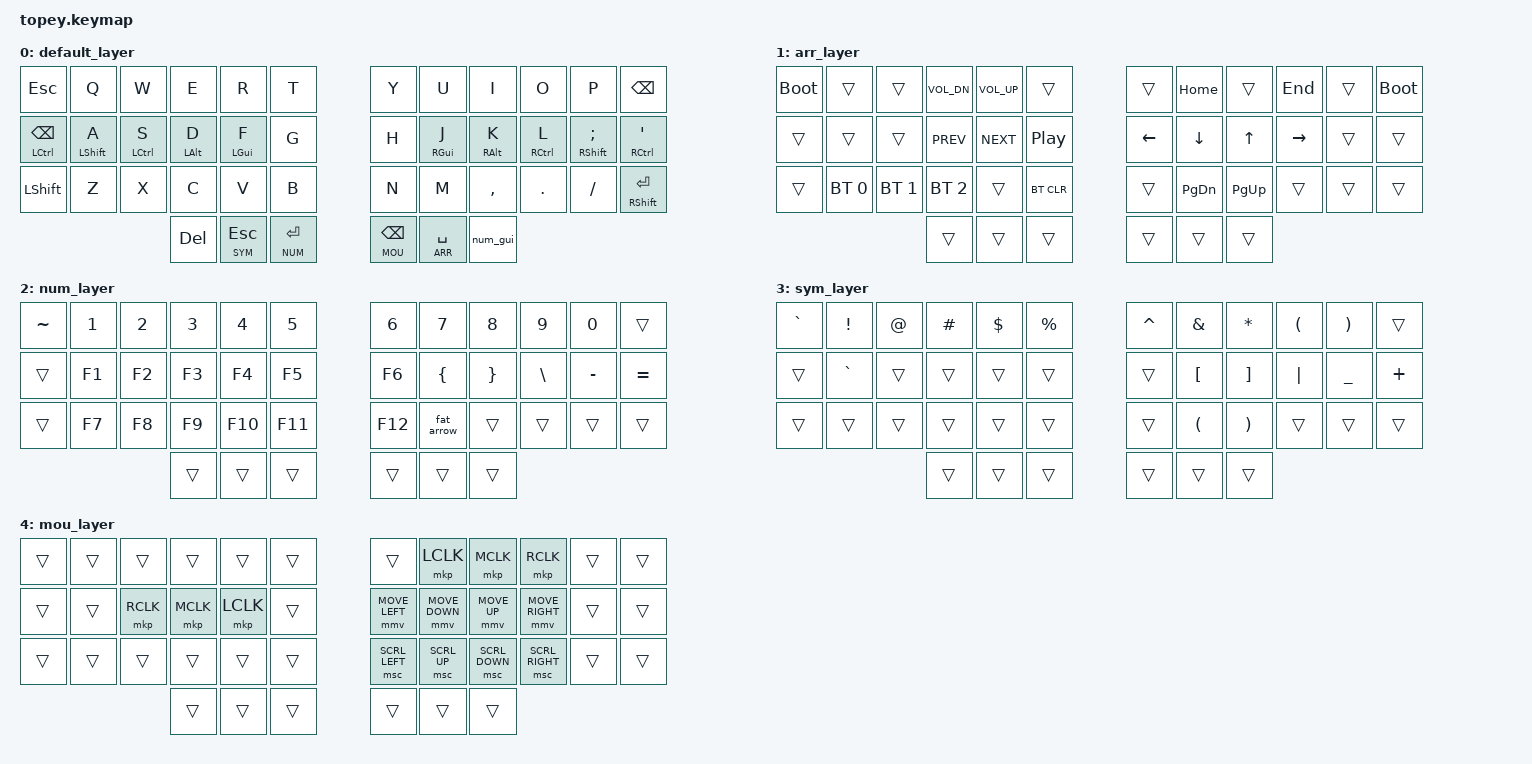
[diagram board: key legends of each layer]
#include <behaviors.dtsi>
#include <dt-bindings/zmk/bt.h>
#include <dt-bindings/zmk/keys.h>

#define ZMK_POINTING_DEFAULT_MOVE_VAL 1500
#define ZMK_POINTING_DEFAULT_SCRL_VAL 20

#include <dt-bindings/zmk/pointing.h>

#define QWE 0
#define ARR 1
#define NUM 2
#define SYM 3
#define MOU 4

&caps_word {
    continue-list = <UNDERSCORE MINUS BSPC DEL N1 N2 N3 N4 N5 N6 N7 N8 N9 N0>;
};

&mmv {
    time-to-max-speed-ms = <800>;
};

&msc {
    time-to-max-speed-ms = <600>;
};

/ {
    behaviors {
        qt: quick-tap {
            compatible = "zmk,behavior-hold-tap";
            label = "Quick Tap";
            #binding-cells = <2>;
            flavor = "tap-preferred";
            tapping-term-ms = <250>;
            quick-tap-ms = <200>;
            bindings =
                <&kp>,
                <&kp>;
        };
    };

    combos {
        compatible = "zmk,combos";

        combo_esc {
            timeout-ms = <50>;
            key-positions = <21 22>;
            bindings = <&kp RET>;
        };

        combo_tab {
            timeout-ms = <50>;
            key-positions = <15 16>;
            bindings = <&kp TAB>;
        };

        combo_fat_arrow {
            timeout-ms = <50>;
            key-positions = <32 33>;
            bindings = <&fat_arrow>;
        };

        combo_cw {
            timeout-ms = <50>;
            bindings = <&caps_word 0>;
            key-positions = <16 19>;
        };

        combo_mouse_toggle {
            timeout-ms = <50>;
            key-positions = <39 40>;
            bindings = <&tog MOU>;
        };
    };

    macros {
        fat_arrow: fat_arrow {
            label = "=>";
            compatible = "zmk,behavior-macro";
            tap-ms = <40>;
            bindings = <&kp EQUAL &kp GT>;
            #binding-cells = <0>;
        };
        num_gui: num_gui {
            label = "Num Gui";
            compatible = "zmk,behavior-macro";
            bindings =
                <&macro_press>,
                <&mo NUM &kp RGUI>,
                <&macro_pause_for_release>,
                <&macro_release>,
                <&mo NUM &kp RGUI>;

            #binding-cells = <0>;
        };
    };

    keymap {
        compatible = "zmk,keymap";

        default_layer {
            bindings = <
 &kp ESC    &kp Q    &kp W    &kp E &kp R &kp T &kp Y &kp U &kp I   &kp O  &kp P     &kp BSPC
 &qt LCTRL BSPC &qt LSHFT A &qt LCTRL S &qt LALT D &qt LGUI F &kp G &kp H &qt RGUI J &qt RALT K  &qt RCTRL L &qt RSHFT SEMI &qt RCTRL SQT
 &kp LSHFT  &kp Z    &kp X    &kp C &kp V &kp B &kp N &kp M &kp COMMA &kp DOT &kp FSLH    &qt RSHFT RET
               &kp DEL &lt SYM ESC &lt NUM RET  &lt MOU BSPC &lt ARR SPACE  &num_gui
            >;
        };

        arr_layer {
            bindings = <
&bootloader        &trans        &trans  &kp C_VOL_DN  &kp C_VOL_UP    &trans      &trans   &kp HOME     &trans    &kp END  &trans  &bootloader
    &trans        &trans        &trans    &kp C_PREV    &kp C_NEXT  &kp C_PP    &kp LEFT   &kp DOWN     &kp UP  &kp RIGHT  &trans      &trans
    &trans  &bt BT_SEL 0  &bt BT_SEL 1  &bt BT_SEL 2        &trans  &bt BT_CLR    &trans  &kp PG_DN  &kp PG_UP     &trans  &trans      &trans
                                              &trans        &trans    &trans      &trans     &trans     &trans
            >;
        };

        num_layer {
            bindings = <
&kp TILDE  &kp N1  &kp N2  &kp N3   &kp N4   &kp N5     &kp N6      &kp N7    &kp N8    &kp N9     &kp N0     &trans
   &trans  &kp F1  &kp F2  &kp F3   &kp F4   &kp F5     &kp F6    &kp LBRC  &kp RBRC  &kp BSLH  &kp MINUS  &kp EQUAL
   &trans  &kp F7  &kp F8  &kp F9  &kp F10  &kp F11    &kp F12  &fat_arrow    &trans    &trans     &trans     &trans
                           &trans   &trans   &trans     &trans      &trans    &trans
            >;
        };

        sym_layer {
            bindings = <
&kp GRAVE   &kp EXCL  &kp AT  &kp HASH  &kp DLLR  &kp PRCNT    &kp CARET  &kp AMPS  &kp STAR  &kp LPAR   &kp RPAR    &trans
   &trans  &kp GRAVE  &trans    &trans    &trans     &trans       &trans  &kp LBKT  &kp RBKT  &kp PIPE  &kp UNDER  &kp PLUS
   &trans     &trans  &trans    &trans    &trans     &trans       &trans  &kp LPAR  &kp RPAR    &trans     &trans    &trans
                                &trans    &trans     &trans       &trans    &trans    &trans
            >;
        };

        mou_layer {
            bindings = <
   &trans     &trans     &trans     &trans     &trans  &trans       &trans     &mkp LCLK  &mkp MCLK  &mkp RCLK     &trans  &trans
   &trans     &trans  &mkp RCLK  &mkp MCLK  &mkp LCLK  &trans    &mmv MOVE_LEFT  &mmv MOVE_DOWN  &mmv MOVE_UP  &mmv MOVE_RIGHT  &trans  &trans
   &trans     &trans     &trans     &trans     &trans  &trans    &msc SCRL_LEFT  &msc SCRL_UP  &msc SCRL_DOWN  &msc SCRL_RIGHT  &trans  &trans
                                   &trans     &trans  &trans       &trans     &trans     &trans
            >;
        };
    };
};
